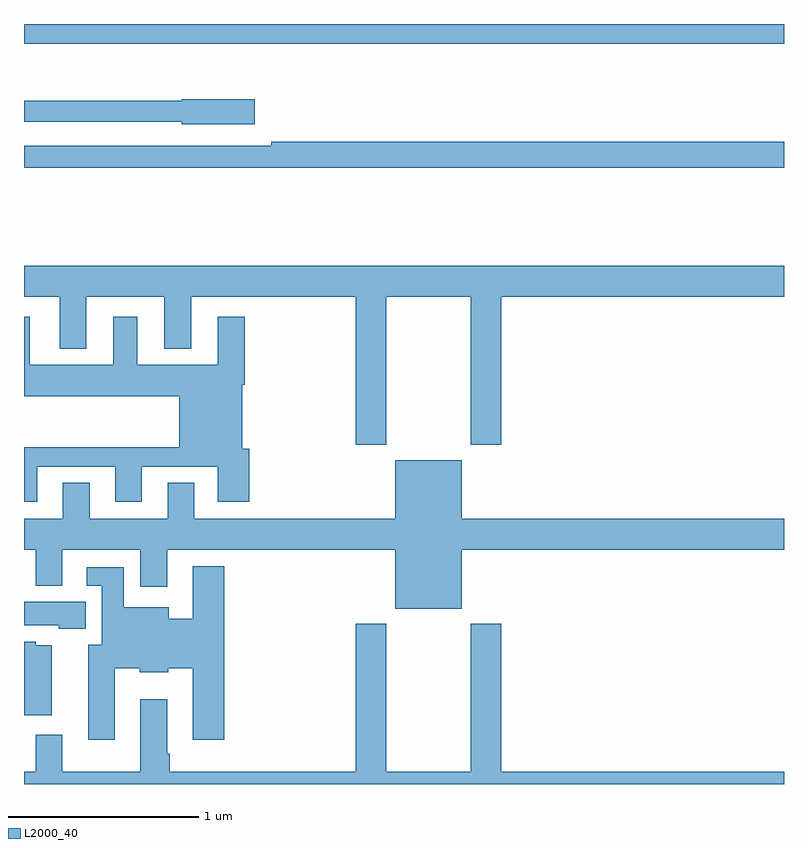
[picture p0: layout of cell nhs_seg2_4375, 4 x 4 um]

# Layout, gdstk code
import gdstk
lib = gdstk.Library(unit=1e-6, precision=1e-09)
def R(c, l, rs):  # rectangles x0, y0, x1, y1
    for r in rs: c.add(gdstk.rectangle(r[:2], r[2:], *l))
def P(c, l, *ps):  # polygons
    for p in ps: c.add(gdstk.Polygon(p, *l))
L2000_40 = (2000, 40)

nhs_seg2_4375 = lib.new_cell('nhs_seg2_4375')
R(nhs_seg2_4375, L2000_40, [(349,587.696,353,587.8)])
P(nhs_seg2_4375, L2000_40, [(350.215,587.403),(349.83,587.403),(349.83,587.395),(349,587.395),(349,587.286),(349.83,587.286),(349.83,587.273),(350.215,587.273)],
  [(353,587.18),(350.302,587.18),(350.302,587.16),(349,587.16),(349,587.044),(353,587.044)],
  [(350.907,586.364),(351.352,586.364),(351.352,585.585),(351.512,585.585),(351.512,586.364),(353,586.364),(353,586.528),(349,586.528),(349,586.364),(349.187,586.364),(349.187,586.091),(349.327,586.091),(349.327,586.364),(349.739,586.364),(349.739,586.091),(349.879,586.091),(349.879,586.364),(350.747,586.364),(350.747,585.585),(350.907,585.585)],
  [(349.069,585.471),(349.481,585.471),(349.481,585.285),(349.621,585.285),(349.621,585.471),(350.021,585.471),(350.021,585.285),(350.186,585.285),(350.186,585.564),(350.149,585.564),(350.149,585.902),(350.162,585.902),(350.162,586.258),(350.021,586.258),(350.021,586.006),(349.597,586.006),(349.597,586.258),(349.469,586.258),(349.469,586.006),(349.03,586.006),(349.03,586.258),(349,586.258),(349,585.842),(349.817,585.842),(349.817,585.572),(349,585.572),(349,585.285),(349.069,585.285)],
  [(351.304,585.032),(353,585.032),(353,585.196),(351.304,585.196),(351.304,585.505),(350.954,585.505),(350.954,585.196),(349.897,585.196),(349.897,585.386),(349.757,585.386),(349.757,585.196),(349.345,585.196),(349.345,585.386),(349.205,585.386),(349.205,585.196),(349,585.196),(349,585.032),(349.061,585.032),(349.061,584.843),(349.201,584.843),(349.201,585.032),(349.613,585.032),(349.613,584.838),(349.753,584.838),(349.753,585.032),(350.954,585.032),(350.954,584.723),(351.304,584.723)],
  [(349.477,584.408),(349.608,584.408),(349.608,584.387),(349.758,584.387),(349.758,584.408),(349.889,584.408),(349.889,584.034),(350.054,584.034),(350.054,584.947),(349.889,584.947),(349.889,584.671),(349.762,584.671),(349.762,584.731),(349.525,584.731),(349.525,584.94),(349.329,584.94),(349.329,584.844),(349.409,584.844),(349.409,584.533),(349.337,584.533),(349.337,584.034),(349.477,584.034)],
  [(349.324,584.758),(349,584.758),(349,584.636),(349.182,584.636),(349.182,584.618),(349.324,584.618)],
  [(353,583.864),(351.512,583.864),(351.512,584.644),(351.352,584.644),(351.352,583.864),(350.907,583.864),(350.907,584.644),(350.747,584.644),(350.747,583.864),(349.766,583.864),(349.766,583.96),(349.753,583.96),(349.753,584.245),(349.613,584.245),(349.613,583.864),(349.201,583.864),(349.201,584.059),(349.061,584.059),(349.061,583.864),(349,583.864),(349,583.8),(353,583.8)],
  [(349.147,584.53),(349.062,584.53),(349.062,584.548),(349,584.548),(349,584.162),(349.147,584.162)])

lib.write_gds('nhs_seg2_4375.gds')
